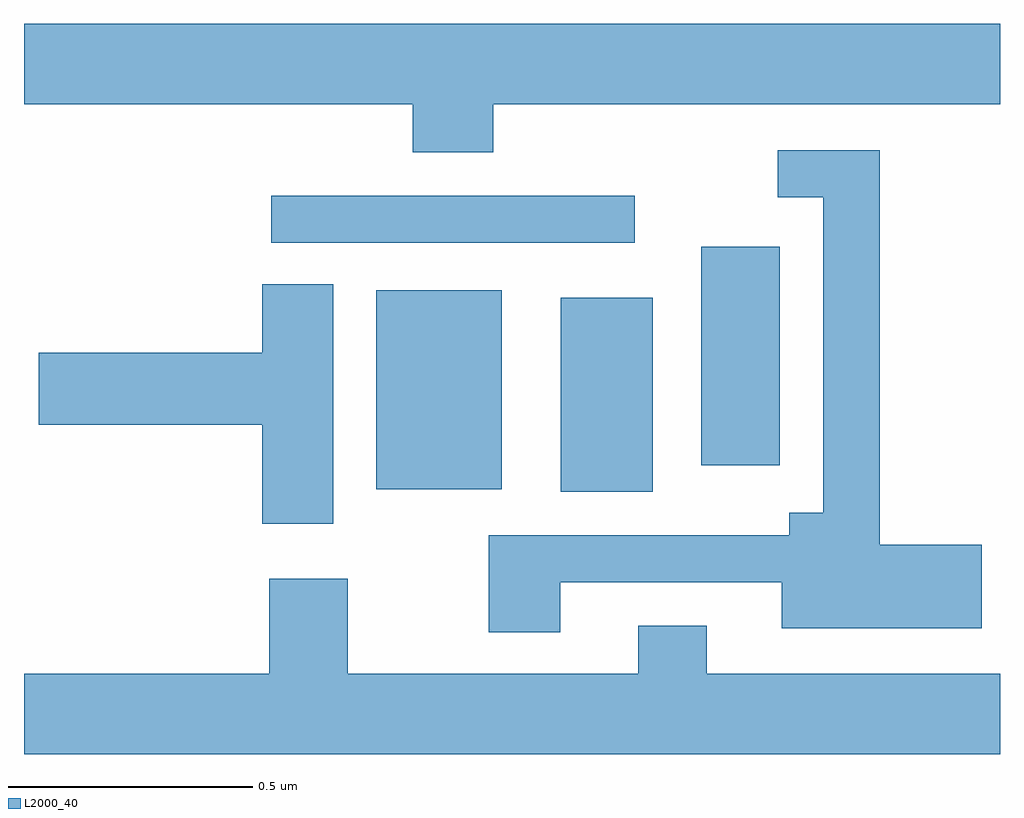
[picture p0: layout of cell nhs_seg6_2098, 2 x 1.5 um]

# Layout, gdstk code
import gdstk
lib = gdstk.Library(unit=1e-6, precision=1e-09)
def R(c, l, rs):  # rectangles x0, y0, x1, y1
    for r in rs: c.add(gdstk.rectangle(r[:2], r[2:], *l))
def P(c, l, *ps):  # polygons
    for p in ps: c.add(gdstk.Polygon(p, *l))
L2000_40 = (2000, 40)

nhs_seg6_2098 = lib.new_cell('nhs_seg6_2098')
R(nhs_seg6_2098, L2000_40, [(139.1,949.205,139.288,949.603), (138.722,949.211,138.979,949.618), (139.388,949.26,139.549,949.708), (138.507,949.716,139.252,949.812)])
P(nhs_seg6_2098, L2000_40, [(138.962,950),(140,950),(140,950.164),(138,950.164),(138,950),(138.797,950),(138.797,949.901),(138.962,949.901)],
  [(139.099,949.02),(139.553,949.02),(139.553,948.926),(139.963,948.926),(139.963,949.097),(139.754,949.097),(139.754,949.905),(139.545,949.905),(139.545,949.809),(139.638,949.809),(139.638,949.162),(139.568,949.162),(139.568,949.116),(138.952,949.116),(138.952,948.918),(139.099,948.918)],
  [(138.634,949.631),(138.488,949.631),(138.488,949.49),(138.03,949.49),(138.03,949.343),(138.488,949.343),(138.488,949.14),(138.634,949.14)],
  [(140,948.832),(139.399,948.832),(139.399,948.931),(139.259,948.931),(139.259,948.832),(138.663,948.832),(138.663,949.027),(138.503,949.027),(138.503,948.832),(138,948.832),(138,948.668),(140,948.668)])

lib.write_gds('nhs_seg6_2098.gds')
